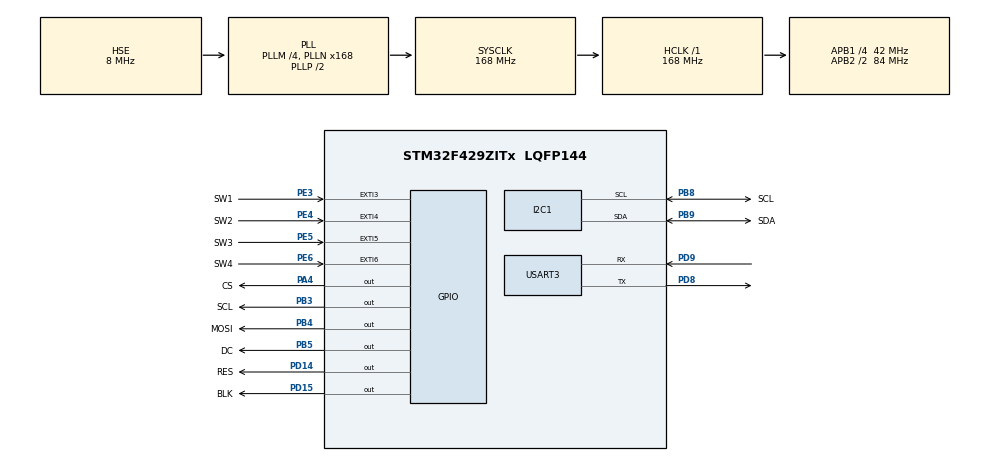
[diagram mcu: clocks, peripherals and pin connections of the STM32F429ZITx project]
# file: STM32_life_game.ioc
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FREERTOS.Tasks01=defaultTask,24,128,StartDefaultTask,Default,NULL,Dynamic,NULL,NULL
I2C1.I2C_Mode=I2C_Fast
Mcu.Family=STM32F4
Mcu.Name=STM32F429ZITx
Mcu.Package=LQFP144
NVIC.EXTI3_IRQn=true\:5\:0\:false\:false\:true\:true\:true\:true\:true
NVIC.EXTI4_IRQn=true\:5\:0\:false\:false\:true\:true\:true\:true\:true
NVIC.EXTI9_5_IRQn=true\:5\:0\:false\:false\:true\:true\:true\:true\:true
NVIC.PriorityGroup=NVIC_PRIORITYGROUP_4
NVIC.TIM1_UP_TIM10_IRQn=true\:15\:0\:false\:false\:true\:false\:false\:true\:true
NVIC.TimeBase=TIM1_UP_TIM10_IRQn
NVIC.TimeBaseIP=TIM1
PA13.Mode=Serial_Wire
PA13.Signal=SYS_JTMS-SWDIO
PA14.Mode=Serial_Wire
PA14.Signal=SYS_JTCK-SWCLK
PA4.GPIO_Label=CS
PA4.Signal=GPIO_Output
PB3.GPIO_Label=SCL
PB3.Signal=GPIO_Output
PB4.GPIO_Label=MOSI
PB4.Signal=GPIO_Output
PB5.GPIO_Label=DC
PB5.Signal=GPIO_Output
PB8.GPIO_Label=SCL
PB8.Mode=I2C
PB8.Signal=I2C1_SCL
PB9.GPIO_Label=SDA
PB9.Mode=I2C
PB9.Signal=I2C1_SDA
PD14.GPIO_Label=RES
PD14.Signal=GPIO_Output
PD15.GPIO_Label=BLK
PD15.Signal=GPIO_Output
PD8.Mode=Asynchronous
PD8.Signal=USART3_TX
PD9.Mode=Asynchronous
PD9.Signal=USART3_RX
PE3.GPIO_Label=SW1
PE3.Signal=GPXTI3
PE4.GPIO_Label=SW2
PE4.Signal=GPXTI4
PE5.GPIO_Label=SW3
PE5.Signal=GPXTI5
PE6.GPIO_Label=SW4
PE6.Signal=GPXTI6
PH0/OSC_IN.Mode=HSE-External-Oscillator
PH0/OSC_IN.Signal=RCC_OSC_IN
PH1/OSC_OUT.Mode=HSE-External-Oscillator
PH1/OSC_OUT.Signal=RCC_OSC_OUT
ProjectManager.HeapSize=0x200
ProjectManager.StackSize=0x400
ProjectManager.TargetToolchain=STM32CubeIDE
RCC.48MHZClocksFreq_Value=48000000
RCC.AHBFreq_Value=168000000
RCC.APB1CLKDivider=RCC_HCLK_DIV4
RCC.APB1Freq_Value=42000000
RCC.APB1TimFreq_Value=84000000
RCC.APB2CLKDivider=RCC_HCLK_DIV2
RCC.APB2Freq_Value=84000000
RCC.APB2TimCLKDivider=2
RCC.APB2TimFreq_Value=168000000
RCC.CortexFreq_Value=168000000
RCC.HCLKFreq_Value=168000000
RCC.HSE_VALUE=8000000
RCC.HSI_VALUE=16000000
RCC.LSE_VALUE=32768
RCC.PLLM=4
RCC.PLLMUL=RCC_PLL_MUL9
RCC.PLLN=168
RCC.PLLQ=7
RCC.PLLSourceVirtual=RCC_PLLSOURCE_HSE
RCC.PRESCALERUSB=RCC_USBCLKSOURCE_PLL_DIV1_5
RCC.SYSCLKFreq_VALUE=168000000
RCC.SYSCLKSource=RCC_SYSCLKSOURCE_PLLCLK
RCC.SYSCLKSourceVirtual=RCC_SYSCLKSOURCE_PLLCLK
RCC.USBFreq_Value=48000000
RCC.VCOOutputFreq_Value=336000000
USART3.VirtualMode=VM_ASYNC
VP_FREERTOS_VS_CMSIS_V2.Mode=CMSIS_V2
VP_SYS_VS_tim1.Mode=TIM1
board=NUCLEO-F429ZI

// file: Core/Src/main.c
/* USER CODE BEGIN Header */
/**
 ******************************************************************************
 * @file           : main.c
 * @brief          : Main program body
 ******************************************************************************
 * @attention
 *
 * Copyright (c) 2024 STMicroelectronics.
 * All rights reserved.
 *
 * This software is licensed under terms that can be found in the LICENSE file
 * in the root directory of this software component.
 * If no LICENSE file comes with this software, it is provided AS-IS.
 *
 ******************************************************************************
 */
/* USER CODE END Header */
#include "main.h"

#include "cmsis_os.h"
#include "gpio.h"
#include "i2c.h"
#include "usart.h"

/* USER CODE BEGIN Includes */
#include <stdbool.h>
#include <stdlib.h>
#include <time.h>

#include "FreeRTOS.h"
#include "circular_queue.h"
#include "lcd.h"
#include "lcd_init.h"
#include "oled.h"
#include "queue.h"
#include "rust.h"
#include "stdbool.h"
#include "stdio.h"
#include "string.h"
#include "task.h"
#include "u8g2.h"
/* USER CODE END Includes */

/* USER CODE BEGIN PD */
#define WIDTH 128
#define HEIGHT 64
#define SCALE 4
#define W_SIZE WIDTH / SCALE
#define H_SIZE HEIGHT / SCALE
u8 is_stop = 0;

struct OLED {
    u64 step;
    u16 delay;
    u8 circular;
};

TaskHandle_t handle_lcd;
TaskHandle_t handleOled;
QueueHandle_t queueSwitch;
QueueHandle_t queueOled;

u8g2_t u8g2;
/* USER CODE END PD */

void SystemClock_Config(void);
void MX_FREERTOS_Init(void);

/* USER CODE BEGIN 0 */
u32 delay_fn(u16 x) {
    return (3000 * x) / (x + 30) + 10;
}

u64 compute_hash(bool array[H_SIZE][W_SIZE]) {
    u64 hash = 0x3a7eb429;
    for (int i = 0; i < H_SIZE; i++) {
        for (int j = 0; j < W_SIZE; j++) {
            hash = (hash >> 1) | (hash << (sizeof(u64) * 8 - 1));
            hash ^= array[i][j] * 0xee6b2807;
        }
    }

    hash *= 0xee6b2807;
    hash ^= hash >> 32;
    return hash;
}

u8 calc_around(bool world[H_SIZE][W_SIZE], u16 x, u16 y) {
    u8 count = 0;
    for (i8 dy = -1; dy <= 1; ++dy) {
        for (i8 dx = -1; dx <= 1; ++dx) {
            if ((x + dx < 0 || x + dx >= W_SIZE || y + dy < 0 || y + dy >= H_SIZE) || (dx == 0 && dy == 0)) {
                continue;
            }

            count += (world[y + dy][x + dx] ? 1 : 0);

            if (count > 3) {
                return count;
            }
        }
    }

    return count;
}

void init_data(bool world[H_SIZE][W_SIZE]) {
    for (u16 y = 0; y < H_SIZE; ++y) {
        for (u16 x = 0; x < W_SIZE; ++x) {
            world[y][x] = (rand() % 5 < 1 ? 1 : 0);
        }
    }
}

/**********************
receive data from queue
success -> pdPASS(1) -> update OLED
fail -> pdFAIL(0) -> taskYIELD();
**********************/
void taskOLED(void *pvParm) {
    srand(time(NULL));
    u8g2Init(&u8g2);
    u8g2_ClearBuffer(&u8g2);
    u8g2_ClearDisplay(&u8g2);
    u8g2_SetFont(&u8g2, u8g2_font_samim_16_t_all);
    u8 near[H_SIZE][W_SIZE];
    bool world[H_SIZE][W_SIZE];
    init_data(world);
    struct circular_queue history = circular_queue_new(5);
    u64 step = 0;
    u8 mode = 255;
    u16 delay = 6;
    struct OLED oled;
    oled.circular = 0;
    while (1) {
        xQueueReceive(queueSwitch, &mode, 0);
        switch (mode) {
            case 0:
                step = 0;
                mode = 255;
                oled.circular = 0;
                init_data(world);
                break;
            case 2:
                delay = delay == 3000 ? 3000 : delay + 1;
                mode = 255;
                break;
            case 3:
                delay = delay == 0 ? 0 : delay - 1;
                mode = 255;
                break;
        }

        if (is_stop) goto end;
        u8g2_ClearBuffer(&u8g2);
        if (step != 0) {
            for (u16 y = 0; y < H_SIZE; ++y) {
                for (u16 x = 0; x < W_SIZE; ++x) {
                    near[y][x] = calc_around(world, x, y);
                }
            }
        }

        for (u16 y = 0; y < H_SIZE; ++y) {
            for (u16 x = 0; x < W_SIZE; ++x) {
                if (step != 0) {
                    u8 around_life = near[y][x];
                    if (world[y][x] && (around_life < 2 || around_life > 3)) {
                        world[y][x] = 0;
                    } else if (world[y][x] == 0 && around_life == 3) {
                        world[y][x] = 1;
                    }
                }

                if (!world[y][x]) continue;

                u8g2_DrawBox(&u8g2, x * SCALE, y * SCALE, SCALE, SCALE);
            }
        }

        ++step;
        u8g2_SendBuffer(&u8g2);
        circular_queue_push_back(&history, compute_hash(world));
        if (history.size >= 2) {
            u64 sample = circular_queue_get_back(&history, 0);
            for (u64 i = 1; i < history.size; ++i) {
                if (sample == circular_queue_get_back(&history, i)) {
                    oled.circular = i;
                    break;
                }
            }
        }
    end:
        oled.delay = delay_fn(delay);
        oled.step = step;
        xQueueSendFromISR(queueOled, &oled, NULL);
        vTaskDelay(oled.delay);
    }
}

void lcd_handle(void *pvParm) {
    LCD_Fill(0, 0, 240, 240, BLACK);
    struct OLED oled;
    u8 font_szie = 32;
    u8 step[20];
    u8 delay[20];
    u8 stop[20];
    u8 circular[20];
    while (1) {
        xQueueReceive(queueOled, &oled, 0);

        char temp[20];
        snprintf((char *)step, sizeof(step), "Step: %-10s", utoa(oled.step, temp, 10));
        snprintf((char *)delay, sizeof(delay), "Delay: %sms%-5s", utoa(oled.delay, temp, 10), "");
        snprintf((char *)stop, sizeof(stop), "Stop: %-10s", is_stop == 1 ? "True" : "False");
        snprintf((char *)circular, sizeof(circular), "Circular: %-6s", utoa(oled.circular, temp, 10));
        LCD_ShowString(0, 104 - font_szie, step, WHITE, BLACK, font_szie, 0);
        LCD_ShowString(0, 104, delay, WHITE, BLACK, font_szie, 0);
        LCD_ShowString(0, 104 + font_szie, stop, WHITE, BLACK, font_szie, 0);
        LCD_ShowString(0, 104 + font_szie * 2, circular, WHITE, BLACK, font_szie, 0);
        vTaskDelay(10);
    }
}

void HAL_GPIO_EXTI_Callback(u16 GPIO_Pin) {
    u8 mode = 255;

    switch (GPIO_Pin) {
        // sw1 PE3
        case GPIO_PIN_3: {
            if (HAL_GPIO_ReadPin(SW1_GPIO_Port, SW1_Pin) == 1) {
                mode = 0;
                xQueueSendFromISR(queueSwitch, &mode, NULL);
            }
            break;
        }

        // sw2 PE4
        case GPIO_PIN_4: {
            if (HAL_GPIO_ReadPin(SW2_GPIO_Port, SW2_Pin) == 1) {
                is_stop = (is_stop == 0 ? 1 : 0);
            }
            break;
        }

        // sw3 PE5
        case GPIO_PIN_5: {
            if (HAL_GPIO_ReadPin(SW3_GPIO_Port, SW3_Pin) == 1) {
                mode = 2;
                xQueueSendFromISR(queueSwitch, &mode, NULL);
            }
            break;
        }

        // sw4 PE6
        case GPIO_PIN_6: {
            if (HAL_GPIO_ReadPin(SW4_GPIO_Port, SW4_Pin) == 1) {
                mode = 3;
                xQueueSendFromISR(queueSwitch, &mode, NULL);
            }
            break;
        }

        default:
            mode = 255;
            xQueueSendFromISR(queueSwitch, &mode, NULL);
            break;
    }
}
/* USER CODE END 0 */

int main(void) {

    /* MCU Configuration--------------------------------------------------------*/

    /* Reset of all peripherals, Initializes the Flash interface and the Systick. */
    HAL_Init();

    /* USER CODE BEGIN Init */
    LCD_Address_Set(0, 0, 240, 240);

    /* USER CODE END Init */

    /* Configure the system clock */
    SystemClock_Config();

    /* Initialize all configured peripherals */
    MX_GPIO_Init();
    MX_I2C1_Init();
    MX_USART3_UART_Init();
    /* USER CODE BEGIN 2 */
    LCD_Init();
    LCD_CS_Clr();

    queueSwitch = xQueueCreate(1, sizeof(u8));
    queueOled = xQueueCreate(1, sizeof(struct OLED));
    xTaskCreate(taskOLED, "OLED", 512, NULL, 1, &handleOled);
    xTaskCreate(lcd_handle, "LCD Display", 512, NULL, 1, &handle_lcd);

    vTaskStartScheduler();
    /* USER CODE END 2 */

    /* Init scheduler */
    osKernelInitialize();

    /* Call init function for freertos objects (in cmsis_os2.c) */
    MX_FREERTOS_Init();

    /* Start scheduler */
    osKernelStart();

    /* We should never get here as control is now taken by the scheduler */

    /* Infinite loop */
    while (1) {

    }
}

void SystemClock_Config(void) {
    RCC_OscInitTypeDef RCC_OscInitStruct = {0};
    RCC_ClkInitTypeDef RCC_ClkInitStruct = {0};

    /** Configure the main internal regulator output voltage
     */
    __HAL_RCC_PWR_CLK_ENABLE();
    __HAL_PWR_VOLTAGESCALING_CONFIG(PWR_REGULATOR_VOLTAGE_SCALE1);

    /** Initializes the RCC Oscillators according to the specified parameters
     * in the RCC_OscInitTypeDef structure.
     */
    RCC_OscInitStruct.OscillatorType = RCC_OSCILLATORTYPE_HSE;
    RCC_OscInitStruct.HSEState = RCC_HSE_ON;
    RCC_OscInitStruct.PLL.PLLState = RCC_PLL_ON;
    RCC_OscInitStruct.PLL.PLLSource = RCC_PLLSOURCE_HSE;
    RCC_OscInitStruct.PLL.PLLM = 4;
    RCC_OscInitStruct.PLL.PLLN = 168;
    RCC_OscInitStruct.PLL.PLLP = RCC_PLLP_DIV2;
    RCC_OscInitStruct.PLL.PLLQ = 7;
    if (HAL_RCC_OscConfig(&RCC_OscInitStruct) != HAL_OK) {
        Error_Handler();
    }

    /** Initializes the CPU, AHB and APB buses clocks
     */
    RCC_ClkInitStruct.ClockType = RCC_CLOCKTYPE_HCLK | RCC_CLOCKTYPE_SYSCLK | RCC_CLOCKTYPE_PCLK1 | RCC_CLOCKTYPE_PCLK2;
    RCC_ClkInitStruct.SYSCLKSource = RCC_SYSCLKSOURCE_PLLCLK;
    RCC_ClkInitStruct.AHBCLKDivider = RCC_SYSCLK_DIV1;
    RCC_ClkInitStruct.APB1CLKDivider = RCC_HCLK_DIV4;
    RCC_ClkInitStruct.APB2CLKDivider = RCC_HCLK_DIV2;

    if (HAL_RCC_ClockConfig(&RCC_ClkInitStruct, FLASH_LATENCY_5) != HAL_OK) {
        Error_Handler();
    }
}

void HAL_TIM_PeriodElapsedCallback(TIM_HandleTypeDef *htim) {
    if (htim->Instance == TIM1) {
        HAL_IncTick();
    }
}

void Error_Handler(void) {
    __disable_irq();
    while (1) {
    }
}
